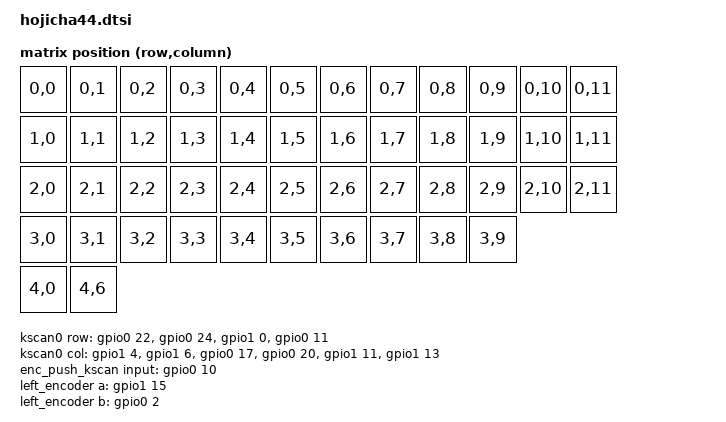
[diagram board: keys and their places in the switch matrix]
/*
 * Hojicha44 shared devicetree — compiled by CI against zmkfirmware/zmk
 * v0.3.0 (board nice_nano_v2, see .github/workflows/build.yml).
 *
 * Covers both halves: 4x6 matrix (R3C4-C5 unpopulated), EC11 on A0/A1 with
 * push on D16, NFC pins as GPIO. Per-half differences (UART only — see
 * hojicha44_{left,right}.overlay) live in the half overlays. The board
 * file provides vbatt/VDDH sensing (chosen zmk,battery is set there, so
 * this file must not redefine it) and defaults uart0 off.
 *
 * Verify with: west build -b nice_nano_v2 -- -DSHIELD=hojicha44_left
 * (needs a zmk-config wrapper providing the shield + board files).
 */

#include <dt-bindings/zmk/matrix_transform.h>

/ {
    chosen {
        zmk,kscan = &combined_scan;
        zmk,matrix-transform = &default_transform;
        /* zmk,battery = &vbatt comes from the nice_nano_v2 board file. */
    };

    combined_scan: kscan_composite {
        compatible = "zmk,kscan-composite";
        rows = <5>;
        columns = <6>;
        wakeup-source;

        matrix {
            kscan = <&kscan0>;
        };

        encoder_push {
            kscan = <&enc_push_kscan>;
            row-offset = <4>;
        };
    };

    kscan0: kscan0 {
        compatible = "zmk,kscan-gpio-matrix";
        diode-direction = "col2row";
        wakeup-source;
        /* row-gpios / col-gpios are half-specific only in net NAME;
         * the Arduino pins are identical, so they live here. */
        row-gpios
            = <&gpio0 22 (GPIO_ACTIVE_HIGH | GPIO_PULL_DOWN)>    /* R0 = D4  */
            , <&gpio0 24 (GPIO_ACTIVE_HIGH | GPIO_PULL_DOWN)>    /* R1 = D5  */
            , <&gpio1  0 (GPIO_ACTIVE_HIGH | GPIO_PULL_DOWN)>    /* R2 = D6  */
            , <&gpio0 11 (GPIO_ACTIVE_HIGH | GPIO_PULL_DOWN)>;   /* R3 = D7  */
        col-gpios
            = <&gpio1  4 GPIO_ACTIVE_HIGH>      /* C0 = D8  */
            , <&gpio1  6 GPIO_ACTIVE_HIGH>      /* C1 = D9  */
            , <&gpio0 17 GPIO_ACTIVE_HIGH>      /* C2 = D2  */
            , <&gpio0 20 GPIO_ACTIVE_HIGH>      /* C3 = D3  */
            , <&gpio1 11 GPIO_ACTIVE_HIGH>      /* C4 = D14 */
            , <&gpio1 13 GPIO_ACTIVE_HIGH>;     /* C5 = D15 */
    };

    default_transform: transform {
        compatible = "zmk,matrix-transform";
        columns = <12>;
        rows = <5>;
        map = <
            RC(0,0) RC(0,1) RC(0,2) RC(0,3) RC(0,4) RC(0,5) RC(0,6) RC(0,7) RC(0,8) RC(0,9) RC(0,10) RC(0,11)
            RC(1,0) RC(1,1) RC(1,2) RC(1,3) RC(1,4) RC(1,5) RC(1,6) RC(1,7) RC(1,8) RC(1,9) RC(1,10) RC(1,11)
            RC(2,0) RC(2,1) RC(2,2) RC(2,3) RC(2,4) RC(2,5) RC(2,6) RC(2,7) RC(2,8) RC(2,9) RC(2,10) RC(2,11)
            RC(3,0) RC(3,1) RC(3,2) RC(3,3) RC(3,4) RC(3,5) RC(3,6) RC(3,7) RC(3,8) RC(3,9)
            RC(4,0) RC(4,6)
        >;
    };

    enc_push_kscan: kscan_enc_push {
        compatible = "zmk,kscan-gpio-direct";
        wakeup-source;
        input-gpios = <&gpio0 10 (GPIO_ACTIVE_LOW | GPIO_PULL_UP)>;
    };

    left_encoder: encoder_left {
        /* Shared node: defined ONCE here, enabled per-half by each overlay's
           &left_encoder { status = "okay"; } and consumed by sensors below.
           The name is NOT a left-half leak — do NOT rename per half. */
        compatible = "alps,ec11";
        a-gpios = <&gpio1 15 (GPIO_ACTIVE_HIGH | GPIO_PULL_UP)>;  /* A0 */
        b-gpios = <&gpio0  2 (GPIO_ACTIVE_HIGH | GPIO_PULL_UP)>;  /* A1 */
        steps = <60>;             /* v0.3 ec11 driver samples A/B on both-edge
                                   interrupts and reports val = deltas*360/steps:
                                   `steps` counts quadrature DELTAS per rotation,
                                   NOT ALPS "pulse periods". EC11E15244G1 has
                                   15 pulse-periods/rev = 4 deltas each = 60
                                   (in-tree reference, sofle v0.3: 20-detent
                                   full-cycle part -> steps = <80> / TPR 20).
                                   With TPR 30 below, one detent click = 12deg
                                   = exactly one trigger. First-article bench
                                   still verifies CW/CCW counts per click and
                                   per revolution. */
        status = "disabled";      /* enabled per half-overlay */
    };

    sensors: sensors {
        compatible = "zmk,keymap-sensors";
        sensors = <&left_encoder>;
        triggers-per-rotation = <30>;
    };
};

/* Configure the NFC pins P0.09 (D10) and P0.10 (D16/ENC push) as GPIO.
 * Verify on the first article with the documented flashing procedure. */
&uicr {
    nfct-pins-as-gpios;
};
